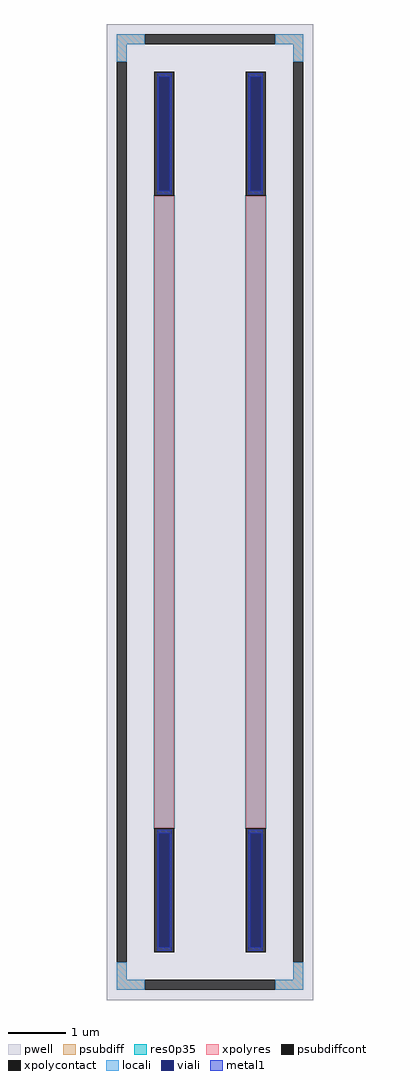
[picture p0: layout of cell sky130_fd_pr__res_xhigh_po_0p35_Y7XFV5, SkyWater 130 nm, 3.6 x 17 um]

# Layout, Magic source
magic
tech sky130A
magscale 1 2
<< pwell >>
rect -360 -1700 360 1700
<< psubdiff >>
rect -324 1630 -228 1664
rect 228 1630 324 1664
rect -324 1568 -290 1630
rect 290 1568 324 1630
rect -324 -1630 -290 -1568
rect 290 -1630 324 -1568
rect -324 -1664 -228 -1630
rect 228 -1664 324 -1630
<< psubdiffcont >>
rect -228 1630 228 1664
rect -324 -1568 -290 1568
rect 290 -1568 324 1568
rect -228 -1664 228 -1630
<< xpolycontact >>
rect -194 1102 -124 1534
rect -194 -1534 -124 -1102
rect 124 1102 194 1534
rect 124 -1534 194 -1102
<< xpolyres >>
rect -194 -1102 -124 1102
rect 124 -1102 194 1102
<< locali >>
rect -324 1630 -228 1664
rect 228 1630 324 1664
rect -324 1568 -290 1630
rect 290 1568 324 1630
rect -324 -1630 -290 -1568
rect 290 -1630 324 -1568
rect -324 -1664 -228 -1630
rect 228 -1664 324 -1630
<< viali >>
rect -178 1119 -140 1516
rect 140 1119 178 1516
rect -178 -1516 -140 -1119
rect 140 -1516 178 -1119
<< metal1 >>
rect -184 1516 -134 1528
rect -184 1119 -178 1516
rect -140 1119 -134 1516
rect -184 1107 -134 1119
rect 134 1516 184 1528
rect 134 1119 140 1516
rect 178 1119 184 1516
rect 134 1107 184 1119
rect -184 -1119 -134 -1107
rect -184 -1516 -178 -1119
rect -140 -1516 -134 -1119
rect -184 -1528 -134 -1516
rect 134 -1119 184 -1107
rect 134 -1516 140 -1119
rect 178 -1516 184 -1119
rect 134 -1528 184 -1516
<< res0p35 >>
rect -196 -1104 -122 1104
rect 122 -1104 196 1104
<< properties >>
string FIXED_BBOX -307 -1647 307 1647
string gencell sky130_fd_pr__res_xhigh_po_0p35
string library sky130
string parameters w 0.350 l 11.02 m 1 nx 2 wmin 0.350 lmin 0.50 rho 2000 val 64.046k dummy 0 dw 0.0 term 188.2 sterm 0.0 caplen 0 wmax 0.350 guard 1 glc 1 grc 1 gtc 1 gbc 1 compatible {sky130_fd_pr__res_xhigh_po_0p35  sky130_fd_pr__res_xhigh_po_0p69 sky130_fd_pr__res_xhigh_po_1p41  sky130_fd_pr__res_xhigh_po_2p85 sky130_fd_pr__res_xhigh_po_5p73} full_metal 1 n_guard 0 hv_guard 0 vias 1 viagb 0 viagt 0 viagl 0 viagr 0
<< end >>
